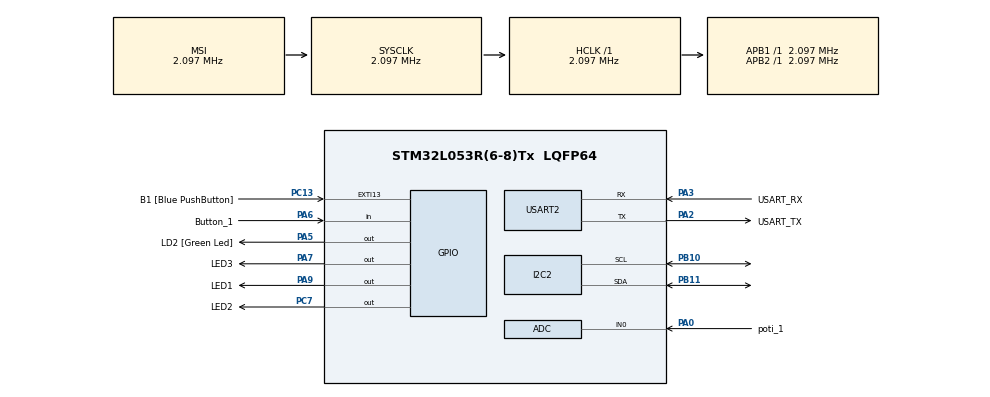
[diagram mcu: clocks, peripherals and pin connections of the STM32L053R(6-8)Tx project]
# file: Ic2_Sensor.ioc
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Mcu.Family=STM32L0
Mcu.Name=STM32L053R(6-8)Tx
Mcu.Package=LQFP64
PA0.GPIO_Label=poti_1
PA0.Mode=IN0
PA0.Signal=ADC_IN0
PA13.GPIO_Label=TMS
PA13.Mode=Serial_Wire
PA13.Signal=SYS_SWDIO
PA14.GPIO_Label=TCK
PA14.Mode=Serial_Wire
PA14.Signal=SYS_SWCLK
PA2.GPIO_Label=USART_TX
PA2.Mode=Asynchronous
PA2.Signal=USART2_TX
PA3.GPIO_Label=USART_RX
PA3.Mode=Asynchronous
PA3.Signal=USART2_RX
PA5.GPIO_Label=LD2 [Green Led]
PA5.PinState=GPIO_PIN_SET
PA5.Signal=GPIO_Output
PA6.GPIO_Label=Button_1
PA6.GPIO_PuPd=GPIO_PULLUP
PA6.Signal=GPIO_Input
PA7.GPIO_Label=LED3
PA7.PinState=GPIO_PIN_SET
PA7.Signal=GPIO_Output
PA9.GPIO_Label=LED1
PA9.PinState=GPIO_PIN_SET
PA9.Signal=GPIO_Output
PB10.Mode=I2C
PB10.Signal=I2C2_SCL
PB11.Mode=I2C
PB11.Signal=I2C2_SDA
PB6.Signal=I2C1_SCL
PB7.Signal=I2C1_SDA
PC13.GPIO_Label=B1 [Blue PushButton]
PC13.GPIO_ModeDefaultEXTI=GPIO_MODE_IT_FALLING
PC13.Signal=GPXTI13
PC14-OSC32_IN.Signal=RCC_OSC32_IN
PC15-OSC32_OUT.Signal=RCC_OSC32_OUT
PC7.GPIO_Label=LED2
PC7.GPIO_Speed=GPIO_SPEED_FREQ_LOW
PC7.PinState=GPIO_PIN_SET
PC7.Signal=GPIO_Output
PH0-OSC_IN.Signal=RCC_OSC_IN
PH1-OSC_OUT.Signal=RCC_OSC_OUT
ProjectManager.HeapSize=0x200
ProjectManager.StackSize=0x400
ProjectManager.TargetToolchain=TrueSTUDIO
RCC.AHBFreq_Value=2097000
RCC.APB1Freq_Value=2097000
RCC.APB1TimFreq_Value=2097000
RCC.APB2Freq_Value=2097000
RCC.APB2TimFreq_Value=2097000
RCC.HSE_VALUE=8000000
RCC.HSI16_VALUE=16000000
RCC.HSI48_VALUE=48000000
RCC.HSI_VALUE=16000000
RCC.LSEState=RCC_LSE_ON
RCC.LSE_VALUE=32768
RCC.MSI_VALUE=2097000
RCC.SYSCLKFreq_VALUE=2097000
RCC.VCOOutputFreq_Value=48000000
USART2.VirtualMode-Asynchronous=VM_ASYNC
VP_IWDG_VS_IWDG.Mode=IWDG_Activate
board=NUCLEO-L053R8

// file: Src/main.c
/* USER CODE BEGIN Header */
/**
  ******************************************************************************
  * @file           : main.c
  * @brief          : Main program body
  ******************************************************************************
  * @attention
  *
  * <h2><center>&copy; Copyright (c) 2019 STMicroelectronics.
  * All rights reserved.</center></h2>
  *
  * This software component is licensed by ST under BSD 3-Clause license,
  * the "License"; You may not use this file except in compliance with the
  * License. You may obtain a copy of the License at:
  *                        opensource.org/licenses/BSD-3-Clause
  *
  ******************************************************************************
  */
/* USER CODE END Header */

#include "main.h"

/* USER CODE BEGIN Includes */
#include <stdio.h>
/* USER CODE END Includes */

ADC_HandleTypeDef hadc;

I2C_HandleTypeDef hi2c2;

IWDG_HandleTypeDef hiwdg;

UART_HandleTypeDef huart2;

/* USER CODE BEGIN PV */
unsigned char buffer[5];
float Temperature;
unsigned int rawT;
/* USER CODE END PV */

void SystemClock_Config(void);
static void MX_GPIO_Init(void);
static void MX_USART2_UART_Init(void);
static void MX_ADC_Init(void);
static void MX_IWDG_Init(void);
static void MX_I2C2_Init(void);

/* USER CODE BEGIN 0 */
// Prototype implementation
#ifdef __GNUC__
/* With GCC/RAISONANCE, small printf (option LD Linker->Libraries->Small printf
set to 'Yes') calls __io_putchar() */
#define PUTCHAR_PROTOTYPE int __io_putchar(int ch)
#else
#define PUTCHAR_PROTOTYPE int fputc(int ch, FILE *f)
#endif /* __GNUC__ */
/* USER CODE END 0 */

int main(void)
{

  /* MCU Configuration--------------------------------------------------------*/

  /* Reset of all peripherals, Initializes the Flash interface and the Systick. */
  HAL_Init();

  /* Configure the system clock */
  SystemClock_Config();

  /* Initialize all configured peripherals */
  MX_GPIO_Init();
  MX_USART2_UART_Init();
  MX_ADC_Init();
  MX_IWDG_Init();
  MX_I2C2_Init();
  /* USER CODE BEGIN 2 */
  buffer[0]=0; //MSB byte
  buffer[1]=0; //LSB byte
  HAL_I2C_Master_Transmit(&hi2c1,0x48<<1,buffer,2,100);
  //device address 0x48 in the datasheet is shifted 1-bit to the left.
  //3 bytes are transmitting to the slave: buffer[0], buffer[1] and buffer[2]

  /* USER CODE END 2 */

  /* Infinite loop */
  while (1)
  {

	  /* USER CODE BEGIN 3 */

	  buffer[0]=0x00;
	  HAL_I2C_Master_Transmit(&hi2c1,0x48<<1,buffer,1,100);
	  HAL_Delay(20);
	  HAL_I2C_Master_Receive(&hi2c1,0x48<<1,buffer,2,100);
	  //receive 2 bytes, store into buffer[0] and buffer[1]
	  //buffer[0] : MSB data
	  //buffer[1] : LSB data
	  rawT = ((buffer[0] <<8) | buffer[1])>>3;
	  Temperature = rawT * 0.03125;;

	  printf("Temperatur hier : %f \n \r", Temperature);
	  /* USER CODE END 3 */
}

void SystemClock_Config(void)
{
  RCC_OscInitTypeDef RCC_OscInitStruct = {0};
  RCC_ClkInitTypeDef RCC_ClkInitStruct = {0};
  RCC_PeriphCLKInitTypeDef PeriphClkInit = {0};

  /** Configure the main internal regulator output voltage
  */
  __HAL_PWR_VOLTAGESCALING_CONFIG(PWR_REGULATOR_VOLTAGE_SCALE1);
  /** Initializes the CPU, AHB and APB busses clocks
  */
  RCC_OscInitStruct.OscillatorType = RCC_OSCILLATORTYPE_LSI|RCC_OSCILLATORTYPE_MSI;
  RCC_OscInitStruct.LSIState = RCC_LSI_ON;
  RCC_OscInitStruct.MSIState = RCC_MSI_ON;
  RCC_OscInitStruct.MSICalibrationValue = 0;
  RCC_OscInitStruct.MSIClockRange = RCC_MSIRANGE_5;
  RCC_OscInitStruct.PLL.PLLState = RCC_PLL_NONE;
  if (HAL_RCC_OscConfig(&RCC_OscInitStruct) != HAL_OK)
  {
    Error_Handler();
  }
  /** Initializes the CPU, AHB and APB busses clocks
  */
  RCC_ClkInitStruct.ClockType = RCC_CLOCKTYPE_HCLK|RCC_CLOCKTYPE_SYSCLK
                              |RCC_CLOCKTYPE_PCLK1|RCC_CLOCKTYPE_PCLK2;
  RCC_ClkInitStruct.SYSCLKSource = RCC_SYSCLKSOURCE_MSI;
  RCC_ClkInitStruct.AHBCLKDivider = RCC_SYSCLK_DIV1;
  RCC_ClkInitStruct.APB1CLKDivider = RCC_HCLK_DIV1;
  RCC_ClkInitStruct.APB2CLKDivider = RCC_HCLK_DIV1;

  if (HAL_RCC_ClockConfig(&RCC_ClkInitStruct, FLASH_LATENCY_0) != HAL_OK)
  {
    Error_Handler();
  }
  PeriphClkInit.PeriphClockSelection = RCC_PERIPHCLK_USART2;
  PeriphClkInit.Usart2ClockSelection = RCC_USART2CLKSOURCE_PCLK1;
  if (HAL_RCCEx_PeriphCLKConfig(&PeriphClkInit) != HAL_OK)
  {
    Error_Handler();
  }
}

static void MX_ADC_Init(void)
{

  ADC_ChannelConfTypeDef sConfig = {0};

  /** Configure the global features of the ADC (Clock, Resolution, Data Alignment and number of conversion)
  */
  hadc.Instance = ADC1;
  hadc.Init.OversamplingMode = DISABLE;
  hadc.Init.ClockPrescaler = ADC_CLOCK_SYNC_PCLK_DIV1;
  hadc.Init.Resolution = ADC_RESOLUTION_12B;
  hadc.Init.SamplingTime = ADC_SAMPLETIME_1CYCLE_5;
  hadc.Init.ScanConvMode = ADC_SCAN_DIRECTION_FORWARD;
  hadc.Init.DataAlign = ADC_DATAALIGN_RIGHT;
  hadc.Init.ContinuousConvMode = DISABLE;
  hadc.Init.DiscontinuousConvMode = DISABLE;
  hadc.Init.ExternalTrigConvEdge = ADC_EXTERNALTRIGCONVEDGE_NONE;
  hadc.Init.ExternalTrigConv = ADC_SOFTWARE_START;
  hadc.Init.DMAContinuousRequests = DISABLE;
  hadc.Init.EOCSelection = ADC_EOC_SINGLE_CONV;
  hadc.Init.Overrun = ADC_OVR_DATA_PRESERVED;
  hadc.Init.LowPowerAutoWait = DISABLE;
  hadc.Init.LowPowerFrequencyMode = DISABLE;
  hadc.Init.LowPowerAutoPowerOff = DISABLE;
  if (HAL_ADC_Init(&hadc) != HAL_OK)
  {
    Error_Handler();
  }
  /** Configure for the selected ADC regular channel to be converted.
  */
  sConfig.Channel = ADC_CHANNEL_0;
  sConfig.Rank = ADC_RANK_CHANNEL_NUMBER;
  if (HAL_ADC_ConfigChannel(&hadc, &sConfig) != HAL_OK)
  {
    Error_Handler();
  }

}

static void MX_I2C2_Init(void)
{

  hi2c2.Instance = I2C2;
  hi2c2.Init.Timing = 0x00000708;
  hi2c2.Init.OwnAddress1 = 0;
  hi2c2.Init.AddressingMode = I2C_ADDRESSINGMODE_7BIT;
  hi2c2.Init.DualAddressMode = I2C_DUALADDRESS_DISABLE;
  hi2c2.Init.OwnAddress2 = 0;
  hi2c2.Init.OwnAddress2Masks = I2C_OA2_NOMASK;
  hi2c2.Init.GeneralCallMode = I2C_GENERALCALL_DISABLE;
  hi2c2.Init.NoStretchMode = I2C_NOSTRETCH_DISABLE;
  if (HAL_I2C_Init(&hi2c2) != HAL_OK)
  {
    Error_Handler();
  }
  /** Configure Analogue filter
  */
  if (HAL_I2CEx_ConfigAnalogFilter(&hi2c2, I2C_ANALOGFILTER_ENABLE) != HAL_OK)
  {
    Error_Handler();
  }
  /** Configure Digital filter
  */
  if (HAL_I2CEx_ConfigDigitalFilter(&hi2c2, 0) != HAL_OK)
  {
    Error_Handler();
  }

}

static void MX_IWDG_Init(void)
{

  hiwdg.Instance = IWDG;
  hiwdg.Init.Prescaler = IWDG_PRESCALER_4;
  hiwdg.Init.Window = 4095;
  hiwdg.Init.Reload = 4095;
  if (HAL_IWDG_Init(&hiwdg) != HAL_OK)
  {
    Error_Handler();
  }

}

static void MX_USART2_UART_Init(void)
{

  huart2.Instance = USART2;
  huart2.Init.BaudRate = 115200;
  huart2.Init.WordLength = UART_WORDLENGTH_8B;
  huart2.Init.StopBits = UART_STOPBITS_1;
  huart2.Init.Parity = UART_PARITY_NONE;
  huart2.Init.Mode = UART_MODE_TX_RX;
  huart2.Init.HwFlowCtl = UART_HWCONTROL_NONE;
  huart2.Init.OverSampling = UART_OVERSAMPLING_16;
  huart2.Init.OneBitSampling = UART_ONE_BIT_SAMPLE_DISABLE;
  huart2.AdvancedInit.AdvFeatureInit = UART_ADVFEATURE_NO_INIT;
  if (HAL_UART_Init(&huart2) != HAL_OK)
  {
    Error_Handler();
  }

}

static void MX_GPIO_Init(void)
{
  GPIO_InitTypeDef GPIO_InitStruct = {0};

  /* GPIO Ports Clock Enable */
  __HAL_RCC_GPIOC_CLK_ENABLE();
  __HAL_RCC_GPIOH_CLK_ENABLE();
  __HAL_RCC_GPIOA_CLK_ENABLE();
  __HAL_RCC_GPIOB_CLK_ENABLE();

  /*Configure GPIO pin Output Level */
  HAL_GPIO_WritePin(GPIOA, LD2_Pin|LED3_Pin|LED1_Pin, GPIO_PIN_SET);

  /*Configure GPIO pin Output Level */
  HAL_GPIO_WritePin(LED2_GPIO_Port, LED2_Pin, GPIO_PIN_SET);

  /*Configure GPIO pin : B1_Pin */
  GPIO_InitStruct.Pin = B1_Pin;
  GPIO_InitStruct.Mode = GPIO_MODE_IT_FALLING;
  GPIO_InitStruct.Pull = GPIO_NOPULL;
  HAL_GPIO_Init(B1_GPIO_Port, &GPIO_InitStruct);

  /*Configure GPIO pins : LD2_Pin LED3_Pin LED1_Pin */
  GPIO_InitStruct.Pin = LD2_Pin|LED3_Pin|LED1_Pin;
  GPIO_InitStruct.Mode = GPIO_MODE_OUTPUT_PP;
  GPIO_InitStruct.Pull = GPIO_NOPULL;
  GPIO_InitStruct.Speed = GPIO_SPEED_FREQ_LOW;
  HAL_GPIO_Init(GPIOA, &GPIO_InitStruct);

  /*Configure GPIO pin : Button_1_Pin */
  GPIO_InitStruct.Pin = Button_1_Pin;
  GPIO_InitStruct.Mode = GPIO_MODE_INPUT;
  GPIO_InitStruct.Pull = GPIO_PULLUP;
  HAL_GPIO_Init(Button_1_GPIO_Port, &GPIO_InitStruct);

  /*Configure GPIO pin : LED2_Pin */
  GPIO_InitStruct.Pin = LED2_Pin;
  GPIO_InitStruct.Mode = GPIO_MODE_OUTPUT_PP;
  GPIO_InitStruct.Pull = GPIO_NOPULL;
  GPIO_InitStruct.Speed = GPIO_SPEED_FREQ_LOW;
  HAL_GPIO_Init(LED2_GPIO_Port, &GPIO_InitStruct);

  /*Configure GPIO pins : PB6 PB7 */
  GPIO_InitStruct.Pin = GPIO_PIN_6|GPIO_PIN_7;
  GPIO_InitStruct.Mode = GPIO_MODE_AF_OD;
  GPIO_InitStruct.Pull = GPIO_PULLUP;
  GPIO_InitStruct.Speed = GPIO_SPEED_FREQ_VERY_HIGH;
  GPIO_InitStruct.Alternate = GPIO_AF1_I2C1;
  HAL_GPIO_Init(GPIOB, &GPIO_InitStruct);

}

/* USER CODE BEGIN 4 */
/**
* @brief Retargets the C library printf function to the USART.
* @param None
* @retval None
*/
PUTCHAR_PROTOTYPE
{
/* Place your implementation of fputc here */
/* e.g. write a character to the USART2 and Loop until the end of transmission */
HAL_UART_Transmit(&huart2, (uint8_t *)&ch, 1, 0xFFFF);
return ch;
}
/* USER CODE END 4 */

void Error_Handler(void)
{
}

/************************ (C) COPYRIGHT STMicroelectronics *****END OF FILE****/
